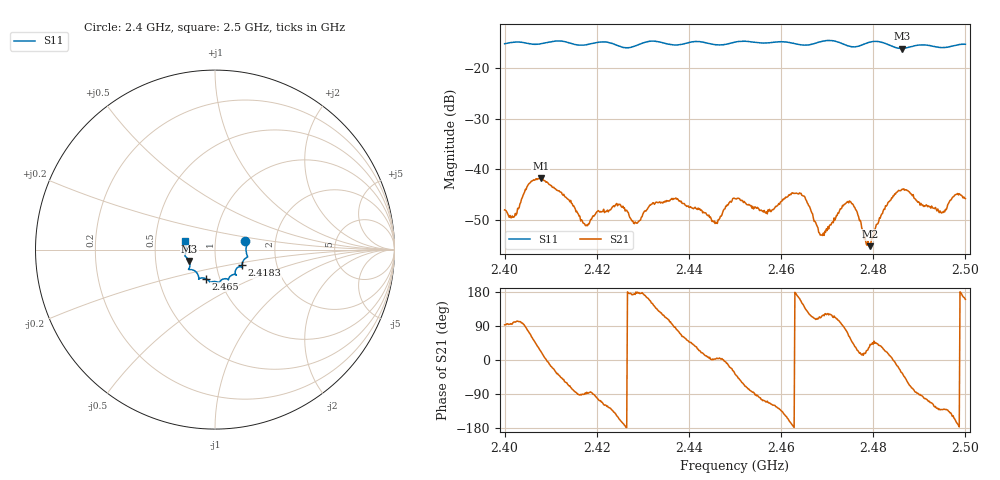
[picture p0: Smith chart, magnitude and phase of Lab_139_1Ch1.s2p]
# Hz S RI R 50
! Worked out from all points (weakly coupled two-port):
!   601 points, 2.4 GHz to 2.5 GHz, reference 50 ohm
!   highest |S21| = -41.74 dB at 2.4078 GHz (marker M1); lowest = -55.2 dB at 2.4793 GHz (marker M2)
!   lowest |S11| = -16.1 dB at 2.4862 GHz (marker M3), VSWR 1.37, Z = 37.2 - j4.8 ohm
!   |S11| at or under -10 dB: start of sweep to end of sweep
!   S12 and S22 are empty: the file has one direction only
!   S11 on the Smith chart (normalised r, x): 2.4 GHz: 1.40, +0.14; 2.4183 GHz: 1.33, -0.24; 2.465 GHz: 0.86, -0.28; 2.5 GHz: 0.71, +0.07
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2.4e9  0.1687 0.0469  -0.000196 0.00397  0 0  0 0
2.402167e9  0.178 0.0366  -0.000622 0.00339  0 0  0 0
2.405333e9  0.1747 0.0157  0.00224 0.0069  0 0  0 0
2.407833e9  0.174 -0.0137  0.0075 0.00326  0 0  0 0
2.416667e9  0.1547 -0.0684  -0.000124 -0.00318  0 0  0 0
2.418333e9  0.1501 -0.087  0.000206 -0.00288  0 0  0 0
2.424667e9  0.1373 -0.0952  -0.00399 -0.00213  0 0  0 0
2.4285e9  0.1128 -0.1238  -0.00297 3.44e-05  0 0  0 0
2.433333e9  0.1174 -0.1409  -0.00305 0.00355  0 0  0 0
2.437167e9  0.0894 -0.1449  0.000632 0.00518  0 0  0 0
2.445667e9  0.0564 -0.1619  0.00291 0.00013  0 0  0 0
2.45e9  0.0262 -0.1798  0.00411 -0.00309  0 0  0 0
2.4565e9  -0.00518 -0.1778  -0.00118 -0.00358  0 0  0 0
2.465e9  -0.0525 -0.1613  -0.00424 0.00342  0 0  0 0
2.466667e9  -0.0713 -0.1575  -0.00155 0.00339  0 0  0 0
2.468833e9  -0.0884 -0.1622  -0.000977 0.00202  0 0  0 0
2.475e9  -0.1007 -0.1302  0.00259 0.00405  0 0  0 0
2.479333e9  -0.1443 -0.1109  0.00131 0.00115  0 0  0 0
2.483333e9  -0.1412 -0.0967  0.00461 0.00127  0 0  0 0
2.486167e9  -0.1438 -0.063  0.0053 -0.00343  0 0  0 0
2.494667e9  -0.1605 -0.000663  -0.00245 -0.00285  0 0  0 0
2.5e9  -0.1665 0.0468  -0.00483 0.00177  0 0  0 0
